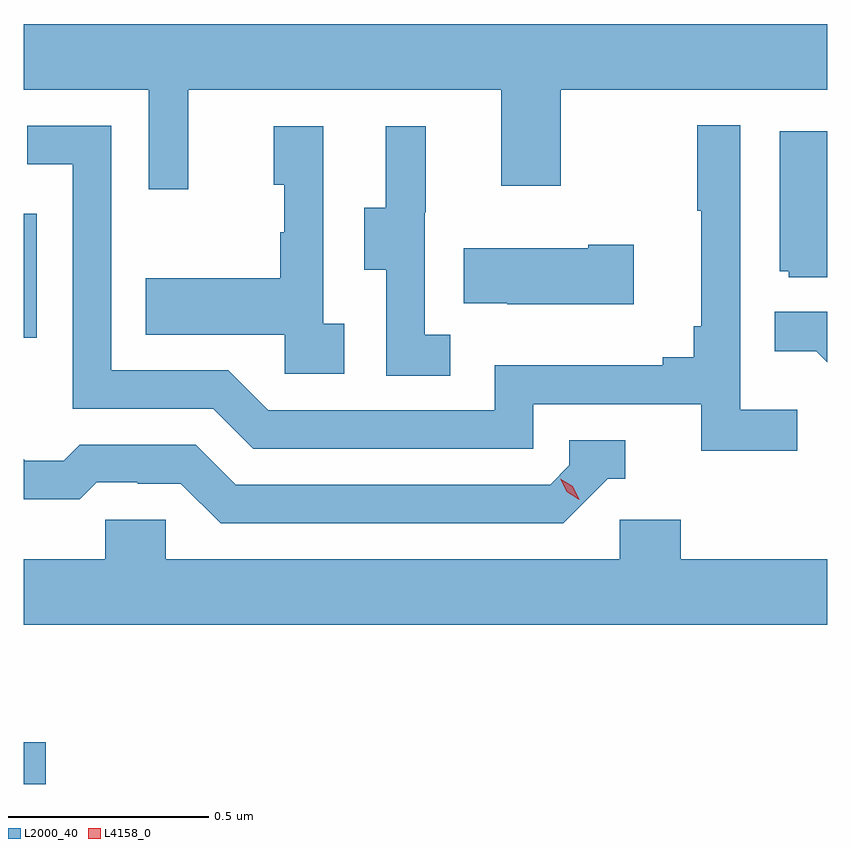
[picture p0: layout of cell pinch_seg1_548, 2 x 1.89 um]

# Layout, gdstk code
import gdstk
lib = gdstk.Library(unit=1e-6, precision=1e-09)
def R(c, l, rs):  # rectangles x0, y0, x1, y1
    for r in rs: c.add(gdstk.rectangle(r[:2], r[2:], *l))
def P(c, l, *ps):  # polygons
    for p in ps: c.add(gdstk.Polygon(p, *l))
L2000_40 = (2000, 40)
L4158_0 = (4158, 0)

pinch_seg1_548 = lib.new_cell('pinch_seg1_548')
R(pinch_seg1_548, L2000_40, [(1013.056,530.024,1013.111,530.128), (1013.056,531.135,1013.088,531.444)])
P(pinch_seg1_548, L2000_40, [(1013.465,531.752),(1014.245,531.752),(1014.245,531.513),(1014.393,531.513),(1014.393,531.752),(1015.056,531.752),(1015.056,531.916),(1013.056,531.916),(1013.056,531.752),(1013.367,531.752),(1013.367,531.504),(1013.465,531.504)],
  [(1014.982,530.956),(1014.84,530.956),(1014.84,531.664),(1014.732,531.664),(1014.732,531.451),(1014.743,531.451),(1014.743,531.163),(1014.724,531.163),(1014.724,531.086),(1014.647,531.086),(1014.647,531.067),(1014.228,531.067),(1014.228,530.955),(1013.664,530.955),(1013.565,531.054),(1013.274,531.054),(1013.274,531.663),(1013.065,531.663),(1013.065,531.567),(1013.178,531.567),(1013.178,530.958),(1013.528,530.958),(1013.627,530.859),(1014.324,530.859),(1014.324,530.97),(1014.743,530.97),(1014.743,530.854),(1014.982,530.854)],
  [(1014.118,531.143),(1014.054,531.143),(1014.054,531.447),(1014.056,531.447),(1014.056,531.661),(1013.957,531.661),(1013.957,531.459),(1013.903,531.459),(1013.903,531.304),(1013.958,531.304),(1013.958,531.04),(1014.118,531.04)],
  [(1013.854,531.17),(1013.802,531.17),(1013.802,531.661),(1013.678,531.661),(1013.678,531.516),(1013.704,531.516),(1013.704,531.398),(1013.694,531.398),(1013.694,531.283),(1013.359,531.283),(1013.359,531.143),(1013.706,531.143),(1013.706,531.045),(1013.854,531.045)],
  [(1015.056,531.649),(1014.938,531.649),(1014.938,531.3),(1014.96,531.3),(1014.96,531.285),(1015.056,531.285)],
  [(1014.574,531.366),(1014.461,531.366),(1014.461,531.358),(1014.151,531.358),(1014.151,531.221),(1014.259,531.221),(1014.259,531.218),(1014.574,531.218)],
  [(1015.056,531.2),(1014.925,531.2),(1014.925,531.101),(1015.029,531.101),(1015.056,531.074)],
  [(1014.51,530.784),(1014.553,530.784),(1014.553,530.88),(1014.414,530.88),(1014.414,530.817),(1014.366,530.769),(1013.583,530.769),(1013.484,530.868),(1013.195,530.868),(1013.156,530.829),(1013.057,530.829),(1013.057,530.832),(1013.056,530.832),(1013.056,530.733),(1013.195,530.733),(1013.237,530.775),(1013.34,530.775),(1013.34,530.772),(1013.447,530.772),(1013.546,530.673),(1014.399,530.673)],
  [(1015.056,530.584),(1014.692,530.584),(1014.692,530.682),(1014.54,530.682),(1014.54,530.584),(1013.409,530.584),(1013.409,530.682),(1013.259,530.682),(1013.259,530.584),(1013.056,530.584),(1013.056,530.42),(1015.056,530.42)])
P(pinch_seg1_548, L4158_0, [(1014.439,530.732),(1014.408,530.752),(1014.391,530.784),(1014.391,530.784),(1014.391,530.784),(1014.422,530.765),(1014.439,530.733),(1014.439,530.732)])

lib.write_gds('pinch_seg1_548.gds')
